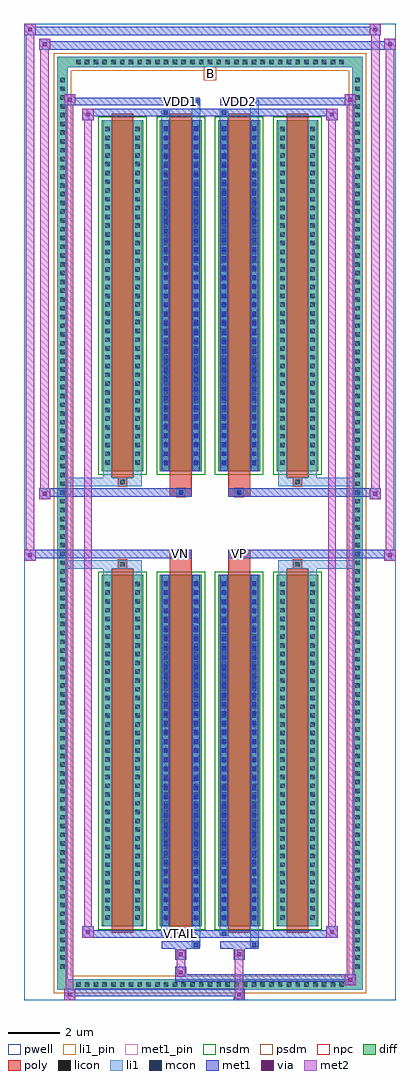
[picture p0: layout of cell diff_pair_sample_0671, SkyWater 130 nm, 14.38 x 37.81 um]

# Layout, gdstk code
import gdstk
lib = gdstk.Library(unit=1e-6, precision=5e-09)
def R(c, l, rs):  # rectangles x0, y0, x1, y1
    for r in rs: c.add(gdstk.rectangle(r[:2], r[2:], *l))
def A(c, l, x, y, w, h, nx, ny, dx, dy):  # array of equal rectangles
    R(c, l, [(x+i*dx, y+j*dy, x+i*dx+w, y+j*dy+h) for i in range(nx) for j in range(ny)])
def P(c, l, *ps):  # polygons
    for p in ps: c.add(gdstk.Polygon(p, *l))
pwell = (64, 44)
diff = (65, 20)
poly = (66, 20)
licon = (66, 44)
li1_pin = (67, 16)
li1 = (67, 20)
mcon = (67, 44)
met1_pin = (68, 16)
met1 = (68, 20)
via = (68, 44)
met2 = (69, 20)
nsdm = (93, 44)
psdm = (94, 20)
npc = (95, 20)

diff_pair_sample_0671 = lib.new_cell('diff_pair_sample_0671')
R(diff_pair_sample_0671, pwell, [(-7.19,-18.47,7.19,19.34), (-4.51,-16.66,-0.01,-0.82), (0.01,-16.66,4.51,-0.82), (-4.51,0.82,-0.01,16.66), (0.01,0.82,4.51,16.66)])
A(diff_pair_sample_0671, diff, -5.305, -18.07, 0.41, 0.41, 31, 2, 0.34, 35.73)
A(diff_pair_sample_0671, diff, -5.92, -17.375, 0.41, 0.41, 1, 102, 0, 0.34)
A(diff_pair_sample_0671, diff, 5.51, -17.375, 0.41, 0.41, 1, 102, 0, 0.34)
A(diff_pair_sample_0671, diff, -4.2, -15.615, 1.62, 13.61, 4, 2, 2.26, 17.62)
R(diff_pair_sample_0671, diff, [(-5.305,-18.07,5.305,-17.66), (-5.92,-17.375,-5.51,17.375), (5.51,-17.375,5.92,17.375), (-5.305,17.66,5.305,18.07)])
P(diff_pair_sample_0671, diff, [(5.92,18.07),(-5.92,18.07),(-5.92,-17.66),(-5.51,-17.66),(-5.51,17.66),(5.51,17.66),(5.51,-17.66),(-5.51,-17.66),(-5.92,-17.66),(-5.92,-18.07),(5.92,-18.07)])
A(diff_pair_sample_0671, poly, -3.81, -15.865, 0.84, 14.11, 4, 2, 2.26, 17.62)
R(diff_pair_sample_0671, poly, [(-3.555,-1.755,-3.225,-1.425), (-3.555,-1.755,-3.225,-1.425), (-1.55,-1.755,-0.71,-1.35), (0.71,-1.755,1.55,-1.35), (3.225,-1.755,3.555,-1.425), (3.225,-1.755,3.555,-1.425), (-1.55,-1.35,-0.71,-1.02), (-1.295,-1.35,-0.965,-1.02), (0.71,-1.35,1.55,-1.02), (0.965,-1.35,1.295,-1.02), (-1.55,1.02,-0.71,1.35), (-1.295,1.02,-0.965,1.35), (0.71,1.02,1.55,1.35), (0.965,1.02,1.295,1.35), (-1.55,1.35,-0.71,1.755), (0.71,1.35,1.55,1.755), (-3.555,1.425,-3.225,1.755), (-3.555,1.425,-3.225,1.755), (3.225,1.425,3.555,1.755), (3.225,1.425,3.555,1.755)])
A(diff_pair_sample_0671, licon, -5.185, -17.95, 0.17, 0.17, 31, 2, 0.34, 35.73)
A(diff_pair_sample_0671, licon, -5.8, -17.255, 0.17, 0.17, 1, 102, 0, 0.34)
A(diff_pair_sample_0671, licon, 5.63, -17.255, 0.17, 0.17, 1, 102, 0, 0.34)
A(diff_pair_sample_0671, licon, -4.06, -15.355, 0.17, 0.17, 1, 39, 0, 0.34)
A(diff_pair_sample_0671, licon, -2.89, -15.355, 0.17, 0.17, 1, 39, 0, 0.34)
A(diff_pair_sample_0671, licon, -1.8, -15.355, 0.17, 0.17, 1, 39, 0, 0.34)
A(diff_pair_sample_0671, licon, -0.63, -15.355, 0.17, 0.17, 1, 39, 0, 0.34)
A(diff_pair_sample_0671, licon, 0.46, -15.355, 0.17, 0.17, 1, 39, 0, 0.34)
A(diff_pair_sample_0671, licon, 1.63, -15.355, 0.17, 0.17, 1, 39, 0, 0.34)
A(diff_pair_sample_0671, licon, 2.72, -15.355, 0.17, 0.17, 1, 39, 0, 0.34)
A(diff_pair_sample_0671, licon, 3.89, -15.355, 0.17, 0.17, 1, 39, 0, 0.34)
A(diff_pair_sample_0671, licon, -4.06, 2.265, 0.17, 0.17, 1, 39, 0, 0.34)
A(diff_pair_sample_0671, licon, -2.89, 2.265, 0.17, 0.17, 1, 39, 0, 0.34)
A(diff_pair_sample_0671, licon, -1.8, 2.265, 0.17, 0.17, 1, 39, 0, 0.34)
A(diff_pair_sample_0671, licon, -0.63, 2.265, 0.17, 0.17, 1, 39, 0, 0.34)
A(diff_pair_sample_0671, licon, 0.46, 2.265, 0.17, 0.17, 1, 39, 0, 0.34)
A(diff_pair_sample_0671, licon, 1.63, 2.265, 0.17, 0.17, 1, 39, 0, 0.34)
A(diff_pair_sample_0671, licon, 2.72, 2.265, 0.17, 0.17, 1, 39, 0, 0.34)
A(diff_pair_sample_0671, licon, 3.89, 2.265, 0.17, 0.17, 1, 39, 0, 0.34)
R(diff_pair_sample_0671, licon, [(-3.475,-1.675,-3.305,-1.505), (3.305,-1.675,3.475,-1.505), (-1.215,-1.27,-1.045,-1.1), (1.045,-1.27,1.215,-1.1), (-1.215,1.1,-1.045,1.27), (1.045,1.1,1.215,1.27), (-3.475,1.505,-3.305,1.675), (3.305,1.505,3.475,1.675)])
R(diff_pair_sample_0671, li1_pin, [(-0.25,17.16,0.25,17.66)])
A(diff_pair_sample_0671, li1, -5.265, -18.03, 0.33, 0.33, 31, 2, 0.34, 35.73)
A(diff_pair_sample_0671, li1, -5.88, -17.335, 0.33, 0.33, 1, 102, 0, 0.34)
A(diff_pair_sample_0671, li1, 5.55, -17.335, 0.33, 0.33, 1, 102, 0, 0.34)
A(diff_pair_sample_0671, li1, -4.14, -15.435, 0.33, 0.33, 1, 39, 0, 0.34)
A(diff_pair_sample_0671, li1, -2.97, -15.435, 0.33, 0.33, 1, 39, 0, 0.34)
A(diff_pair_sample_0671, li1, -1.88, -15.435, 0.33, 0.33, 1, 39, 0, 0.34)
A(diff_pair_sample_0671, li1, -0.71, -15.435, 0.33, 0.33, 1, 39, 0, 0.34)
A(diff_pair_sample_0671, li1, 0.38, -15.435, 0.33, 0.33, 1, 39, 0, 0.34)
A(diff_pair_sample_0671, li1, 1.55, -15.435, 0.33, 0.33, 1, 39, 0, 0.34)
A(diff_pair_sample_0671, li1, 2.64, -15.435, 0.33, 0.33, 1, 39, 0, 0.34)
A(diff_pair_sample_0671, li1, 3.81, -15.435, 0.33, 0.33, 1, 39, 0, 0.34)
A(diff_pair_sample_0671, li1, -1.8, -15.375, 0.17, 0.17, 1, 37, 0, 0.36)
A(diff_pair_sample_0671, li1, -0.63, -15.375, 0.17, 0.17, 1, 37, 0, 0.36)
A(diff_pair_sample_0671, li1, 0.46, -15.375, 0.17, 0.17, 1, 37, 0, 0.36)
A(diff_pair_sample_0671, li1, 1.63, -15.375, 0.17, 0.17, 1, 37, 0, 0.36)
A(diff_pair_sample_0671, li1, -4.14, 2.185, 0.33, 0.33, 1, 39, 0, 0.34)
A(diff_pair_sample_0671, li1, -2.97, 2.185, 0.33, 0.33, 1, 39, 0, 0.34)
A(diff_pair_sample_0671, li1, -1.88, 2.185, 0.33, 0.33, 1, 39, 0, 0.34)
A(diff_pair_sample_0671, li1, -0.71, 2.185, 0.33, 0.33, 1, 39, 0, 0.34)
A(diff_pair_sample_0671, li1, 0.38, 2.185, 0.33, 0.33, 1, 39, 0, 0.34)
A(diff_pair_sample_0671, li1, 1.55, 2.185, 0.33, 0.33, 1, 39, 0, 0.34)
A(diff_pair_sample_0671, li1, 2.64, 2.185, 0.33, 0.33, 1, 39, 0, 0.34)
A(diff_pair_sample_0671, li1, 3.81, 2.185, 0.33, 0.33, 1, 39, 0, 0.34)
A(diff_pair_sample_0671, li1, -1.8, 2.245, 0.17, 0.17, 1, 37, 0, 0.36)
A(diff_pair_sample_0671, li1, -0.63, 2.245, 0.17, 0.17, 1, 37, 0, 0.36)
A(diff_pair_sample_0671, li1, 0.46, 2.245, 0.17, 0.17, 1, 37, 0, 0.36)
A(diff_pair_sample_0671, li1, 1.63, 2.245, 0.17, 0.17, 1, 37, 0, 0.36)
R(diff_pair_sample_0671, li1, [(-5.92,-18.07,-5.51,-17.66), (-5.92,-18.07,-5.51,-17.66), (-5.51,-18.07,5.51,-17.66), (5.51,-18.07,5.92,-17.66), (5.51,-18.07,5.92,-17.66), (-5.92,-17.66,-5.51,17.66), (5.51,-17.66,5.92,17.66), (-0.71,-16.42,-0.38,-15.615), (-0.63,-16.42,-0.46,-16.25), (1.55,-16.42,1.88,-15.615), (1.63,-16.42,1.8,-16.25), (-1.88,-15.99,-1.55,-15.615), (-1.8,-15.99,-1.63,-15.82), (0.38,-15.99,0.71,-15.615), (0.46,-15.99,0.63,-15.82), (-4.14,-15.615,-3.81,-2.005), (-2.97,-15.615,-2.64,-2.005), (-1.88,-15.615,-1.55,-2.005), (-0.71,-15.615,-0.38,-2.005), (0.38,-15.615,0.71,-2.005), (1.55,-15.615,1.88,-2.005), (2.64,-15.615,2.97,-2.005), (3.81,-15.615,4.14,-2.005), (-1.8,-15.375,-1.63,-2.245), (-0.63,-15.375,-0.46,-2.245), (0.46,-15.375,0.63,-2.245), (1.63,-15.375,1.8,-2.245), (-4.14,-2.005,-3.81,-1.425), (-2.97,-2.005,-2.64,-1.425), (2.64,-2.005,2.97,-1.425), (3.81,-2.005,4.14,-1.425), (-5.92,-1.755,-3.555,-1.425), (-4.14,-1.755,-3.555,-1.425), (-3.555,-1.755,-3.225,-1.425), (-3.225,-1.755,-2.64,-1.425), (2.64,-1.755,3.225,-1.425), (3.225,-1.755,3.555,-1.425), (3.225,-1.755,5.92,-1.425), (3.555,-1.755,4.14,-1.425), (-1.295,-1.35,-0.965,-1.02), (0.965,-1.35,1.295,-1.02), (-1.295,1.02,-0.965,1.35), (0.965,1.02,1.295,1.35), (-5.92,1.425,-3.555,1.755), (-4.14,1.425,-3.555,1.755), (-4.14,1.425,-3.81,2.005), (-3.555,1.425,-3.225,1.755), (-3.225,1.425,-2.64,1.755), (-2.97,1.425,-2.64,2.005), (2.64,1.425,3.225,1.755), (2.64,1.425,2.97,2.005), (3.225,1.425,3.555,1.755), (3.225,1.425,5.92,1.755), (3.555,1.425,4.14,1.755), (3.81,1.425,4.14,2.005), (-4.14,2.005,-3.81,15.615), (-2.97,2.005,-2.64,15.615), (-1.88,2.005,-1.55,15.615), (-0.71,2.005,-0.38,15.615), (0.38,2.005,0.71,15.615), (1.55,2.005,1.88,15.615), (2.64,2.005,2.97,15.615), (3.81,2.005,4.14,15.615), (-1.8,2.245,-1.63,15.375), (-0.63,2.245,-0.46,15.375), (0.46,2.245,0.63,15.375), (1.63,2.245,1.8,15.375), (-1.88,15.615,-1.55,15.99), (-0.71,15.615,-0.38,16.42), (0.38,15.615,0.71,15.99), (1.55,15.615,1.88,16.42), (-1.8,15.82,-1.63,15.99), (0.46,15.82,0.63,15.99), (-0.63,16.25,-0.46,16.42), (1.63,16.25,1.8,16.42), (-5.92,17.66,-5.51,18.07), (-5.92,17.66,-5.51,18.07), (-5.51,17.66,5.51,18.07), (5.51,17.66,5.92,18.07), (5.51,17.66,5.92,18.07)])
A(diff_pair_sample_0671, mcon, -1.8, -15.375, 0.17, 0.17, 1, 37, 0, 0.36)
A(diff_pair_sample_0671, mcon, -0.63, -15.375, 0.17, 0.17, 1, 37, 0, 0.36)
A(diff_pair_sample_0671, mcon, 0.46, -15.375, 0.17, 0.17, 1, 37, 0, 0.36)
A(diff_pair_sample_0671, mcon, 1.63, -15.375, 0.17, 0.17, 1, 37, 0, 0.36)
A(diff_pair_sample_0671, mcon, -1.8, 2.245, 0.17, 0.17, 1, 37, 0, 0.36)
A(diff_pair_sample_0671, mcon, -0.63, 2.245, 0.17, 0.17, 1, 37, 0, 0.36)
A(diff_pair_sample_0671, mcon, 0.46, 2.245, 0.17, 0.17, 1, 37, 0, 0.36)
A(diff_pair_sample_0671, mcon, 1.63, 2.245, 0.17, 0.17, 1, 37, 0, 0.36)
R(diff_pair_sample_0671, mcon, [(-0.63,-16.42,-0.46,-16.25), (1.63,-16.42,1.8,-16.25), (-1.8,-15.99,-1.63,-15.82), (0.46,-15.99,0.63,-15.82), (-1.215,-1.27,-1.045,-1.1), (1.045,-1.27,1.215,-1.1), (-1.215,1.1,-1.045,1.27), (1.045,1.1,1.215,1.27), (-1.8,15.82,-1.63,15.99), (0.46,15.82,0.63,15.99), (-0.63,16.25,-0.46,16.42), (1.63,16.25,1.8,16.42)])
R(diff_pair_sample_0671, met1_pin, [(-1.265,-16.03,-0.995,-15.76), (-1.265,-1.29,-0.995,-1.02), (0.995,-1.29,1.265,-1.02), (-1.265,16.21,-0.995,16.48), (0.995,16.21,1.265,16.48)])
A(diff_pair_sample_0671, met1, -1.86, -15.435, 0.29, 0.29, 1, 37, 0, 0.36)
A(diff_pair_sample_0671, met1, -0.69, -15.435, 0.29, 0.29, 1, 37, 0, 0.36)
A(diff_pair_sample_0671, met1, 0.4, -15.435, 0.29, 0.29, 1, 37, 0, 0.36)
A(diff_pair_sample_0671, met1, 1.57, -15.435, 0.29, 0.29, 1, 37, 0, 0.36)
A(diff_pair_sample_0671, met1, -1.86, 2.185, 0.29, 0.29, 1, 37, 0, 0.36)
A(diff_pair_sample_0671, met1, -0.69, 2.185, 0.29, 0.29, 1, 37, 0, 0.36)
A(diff_pair_sample_0671, met1, 0.4, 2.185, 0.29, 0.29, 1, 37, 0, 0.36)
A(diff_pair_sample_0671, met1, 1.57, 2.185, 0.29, 0.29, 1, 37, 0, 0.36)
R(diff_pair_sample_0671, met1, [(-5.65,-18.47,-5.22,-18.04), (0.915,-18.47,1.345,-18.04), (-5.65,-18.33,1.345,-18.04), (5.22,-17.9,5.65,-17.47), (-1.345,-17.76,5.65,-17.47), (-1.345,-17.62,-0.915,-17.19), (-1.345,-16.91,-0.915,-16.48), (0.915,-16.91,1.345,-16.48), (-1.86,-16.48,-0.4,-16.19), (-0.69,-16.48,-0.4,-16.19), (0.4,-16.48,1.86,-16.19), (1.57,-16.48,1.86,-16.19), (-4.94,-16.05,-4.51,-15.62), (-4.94,-16.05,-1.86,-15.76), (-1.86,-16.05,-1.57,-15.76), (-1.86,-16.05,-0.4,-15.76), (-0.4,-16.05,0.4,-15.76), (0.4,-16.05,0.69,-15.76), (0.4,-16.05,1.86,-15.76), (1.86,-16.05,4.94,-15.76), (4.51,-16.05,4.94,-15.62), (-1.86,-15.615,-1.57,-2.005), (-0.69,-15.615,-0.4,-2.005), (0.4,-15.615,0.69,-2.005), (1.57,-15.615,1.86,-2.005), (-7.19,-1.45,-6.76,-1.02), (6.76,-1.45,7.19,-1.02), (-7.19,-1.35,-0.71,-1.02), (-1.55,-1.35,-0.71,-1.02), (0.71,-1.35,1.55,-1.02), (0.71,-1.35,7.19,-1.02), (-1.275,-1.33,-0.985,-1.04), (0.985,-1.33,1.275,-1.04), (-6.62,0.92,-6.19,1.35), (6.19,0.92,6.62,1.35), (-6.62,1.02,-1.55,1.35), (-1.55,1.02,-0.71,1.35), (0.71,1.02,1.55,1.35), (1.55,1.02,6.62,1.35), (-1.275,1.04,-0.985,1.33), (0.985,1.04,1.275,1.33), (-1.86,2.005,-1.57,15.615), (-0.69,2.005,-0.4,15.615), (0.4,2.005,0.69,15.615), (1.57,2.005,1.86,15.615), (-4.94,15.62,-4.51,16.05), (4.51,15.62,4.94,16.05), (-4.94,15.76,-1.86,16.05), (-1.86,15.76,-1.57,16.05), (-1.86,15.76,-0.4,16.05), (-0.4,15.76,0.4,16.05), (0.4,15.76,0.69,16.05), (0.4,15.76,1.86,16.05), (1.86,15.76,4.94,16.05), (-5.65,16.19,-5.22,16.62), (-5.65,16.19,-1.86,16.48), (-1.86,16.19,-0.4,16.48), (-0.69,16.19,-0.4,16.48), (0.4,16.19,1.86,16.48), (1.57,16.19,1.86,16.48), (1.86,16.19,5.65,16.48), (5.22,16.19,5.65,16.62), (-6.62,18.34,-6.19,18.77), (-6.62,18.34,-4.51,18.67), (-4.51,18.34,4.51,18.67), (4.51,18.34,7.19,18.67), (6.76,18.34,7.19,18.77), (-7.19,18.91,-6.76,19.34), (-7.19,18.91,-4.51,19.24), (-4.51,18.91,4.51,19.24), (4.51,18.91,6.62,19.24), (6.19,18.91,6.62,19.34)])
R(diff_pair_sample_0671, via, [(-5.51,-18.33,-5.36,-18.18), (1.055,-18.33,1.205,-18.18), (5.36,-17.76,5.51,-17.61), (-1.205,-17.48,-1.055,-17.33), (-1.205,-16.77,-1.055,-16.62), (1.055,-16.77,1.205,-16.62), (-4.8,-15.91,-4.65,-15.76), (4.65,-15.91,4.8,-15.76), (-7.05,-1.31,-6.9,-1.16), (6.9,-1.31,7.05,-1.16), (-6.48,1.06,-6.33,1.21), (6.33,1.06,6.48,1.21), (-4.8,15.76,-4.65,15.91), (4.65,15.76,4.8,15.91), (-5.51,16.33,-5.36,16.48), (5.36,16.33,5.51,16.48), (-6.48,18.48,-6.33,18.63), (6.9,18.48,7.05,18.63), (-7.05,19.05,-6.9,19.2), (6.33,19.05,6.48,19.2)])
R(diff_pair_sample_0671, met2, [(-5.65,-18.47,-5.22,-18.04), (-5.58,-18.47,-5.29,16.62), (-5.29,-18.47,-5.22,-18.04), (-5.6,-18.42,-5.27,-18.09), (0.965,-18.42,1.295,-18.09), (0.965,-18.09,1.295,-16.86), (5.22,-17.9,5.65,-17.47), (5.29,-17.9,5.58,16.62), (5.58,-17.9,5.65,-17.47), (5.27,-17.85,5.6,-17.52), (-1.295,-17.57,-0.965,-17.24), (-1.295,-17.24,-0.965,-16.86), (-1.295,-16.86,-0.965,-16.53), (0.965,-16.86,1.295,-16.53), (-4.94,-16.05,-4.51,-15.62), (-4.87,-16.05,-4.58,16.05), (-4.58,-16.05,-4.51,-15.62), (4.51,-16.05,4.94,-15.62), (4.58,-16.05,4.87,16.05), (4.87,-16.05,4.94,-15.62), (-4.89,-16,-4.56,-15.67), (4.56,-16,4.89,-15.67), (-7.19,-1.45,-6.76,-1.02), (-7.14,-1.45,-6.81,19.34), (-6.81,-1.45,-6.76,-1.02), (6.76,-1.45,7.19,-1.02), (6.81,-1.45,7.14,18.77), (7.14,-1.45,7.19,-1.02), (-7.14,-1.4,-6.81,-1.07), (6.81,-1.4,7.14,-1.07), (-6.62,0.92,-6.19,1.35), (-6.57,0.92,-6.24,18.77), (-6.24,0.92,-6.19,1.35), (6.19,0.92,6.62,1.35), (6.24,0.92,6.57,19.34), (6.57,0.92,6.62,1.35), (-6.57,0.97,-6.24,1.3), (6.24,0.97,6.57,1.3), (-4.94,15.62,-4.51,16.05), (-4.58,15.62,-4.51,16.05), (4.51,15.62,4.94,16.05), (4.87,15.62,4.94,16.05), (-4.89,15.67,-4.56,16), (4.56,15.67,4.89,16), (-5.65,16.19,-5.22,16.62), (-5.29,16.19,-5.22,16.62), (5.22,16.19,5.65,16.62), (5.58,16.19,5.65,16.62), (-5.6,16.24,-5.27,16.57), (5.27,16.24,5.6,16.57), (-6.62,18.34,-6.19,18.77), (-6.24,18.34,-6.19,18.77), (6.76,18.34,7.19,18.77), (7.14,18.34,7.19,18.77), (-6.57,18.39,-6.24,18.72), (6.81,18.39,7.14,18.72), (-7.19,18.91,-6.76,19.34), (-6.81,18.91,-6.76,19.34), (6.19,18.91,6.62,19.34), (6.57,18.91,6.62,19.34), (-7.14,18.96,-6.81,19.29), (6.24,18.96,6.57,19.29)])
A(diff_pair_sample_0671, nsdm, -4.33, -15.745, 1.88, 13.87, 4, 2, 2.26, 17.62)
P(diff_pair_sample_0671, psdm, [(6.05,18.2),(-6.05,18.2),(-6.05,-17.53),(-5.38,-17.53),(-5.38,17.53),(5.38,17.53),(5.38,-17.53),(-5.38,-17.53),(-6.05,-17.53),(-6.05,-18.2),(6.05,-18.2)])
R(diff_pair_sample_0671, npc, [(-3.575,-1.775,-3.205,-1.405), (3.205,-1.775,3.575,-1.405), (-1.315,-1.37,-0.945,-1), (0.945,-1.37,1.315,-1), (-1.315,1,-0.945,1.37), (0.945,1,1.315,1.37), (-3.575,1.405,-3.205,1.775), (3.205,1.405,3.575,1.775)])
diff_pair_sample_0671.add(gdstk.Label('VTAIL', (-1.13,-15.895), layer=68, texttype=5))
diff_pair_sample_0671.add(gdstk.Label('VN', (-1.13,-1.155), layer=68, texttype=5))
diff_pair_sample_0671.add(gdstk.Label('VP', (1.13,-1.155), layer=68, texttype=5))
diff_pair_sample_0671.add(gdstk.Label('B', (0,17.41), layer=67, texttype=5))
diff_pair_sample_0671.add(gdstk.Label('VDD2', (1.13,16.345), layer=68, texttype=5))
diff_pair_sample_0671.add(gdstk.Label('VDD1', (-1.13,16.345), layer=68, texttype=5))

lib.write_gds('diff_pair_sample_0671.gds')
